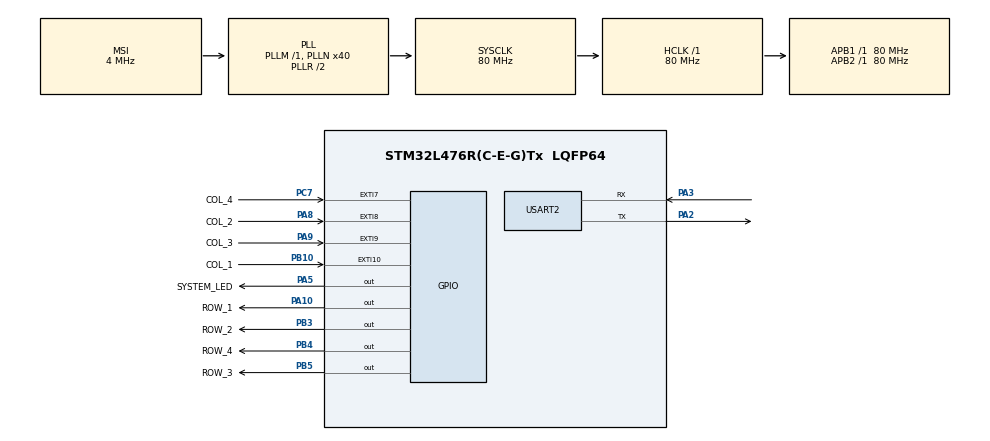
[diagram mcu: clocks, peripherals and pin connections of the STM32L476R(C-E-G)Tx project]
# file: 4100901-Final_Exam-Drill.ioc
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Mcu.Family=STM32L4
Mcu.Name=STM32L476R(C-E-G)Tx
Mcu.Package=LQFP64
NVIC.EXTI15_10_IRQn=true\:0\:0\:false\:false\:true\:true\:true\:true
NVIC.EXTI9_5_IRQn=true\:0\:0\:false\:false\:true\:true\:true\:true
NVIC.PriorityGroup=NVIC_PRIORITYGROUP_4
PA10.GPIO_Label=ROW_1
PA10.PinState=GPIO_PIN_SET
PA10.Signal=GPIO_Output
PA2.Mode=Asynchronous
PA2.Signal=USART2_TX
PA3.Mode=Asynchronous
PA3.Signal=USART2_RX
PA5.GPIO_Label=SYSTEM_LED
PA5.Signal=GPIO_Output
PA8.GPIO_Label=COL_2
PA8.GPIO_ModeDefaultEXTI=GPIO_MODE_IT_RISING
PA8.GPIO_PuPd=GPIO_PULLDOWN
PA8.Signal=GPXTI8
PA9.GPIO_Label=COL_3
PA9.GPIO_ModeDefaultEXTI=GPIO_MODE_IT_RISING
PA9.GPIO_PuPd=GPIO_PULLDOWN
PA9.Signal=GPXTI9
PB10.GPIO_Label=COL_1
PB10.GPIO_ModeDefaultEXTI=GPIO_MODE_IT_RISING
PB10.GPIO_PuPd=GPIO_PULLDOWN
PB10.Signal=GPXTI10
PB3\ (JTDO-TRACESWO).GPIO_Label=ROW_2
PB3\ (JTDO-TRACESWO).PinState=GPIO_PIN_SET
PB3\ (JTDO-TRACESWO).Signal=GPIO_Output
PB4\ (NJTRST).GPIO_Label=ROW_4
PB4\ (NJTRST).PinState=GPIO_PIN_SET
PB4\ (NJTRST).Signal=GPIO_Output
PB5.GPIO_Label=ROW_3
PB5.PinState=GPIO_PIN_SET
PB5.Signal=GPIO_Output
PC7.GPIO_Label=COL_4
PC7.GPIO_ModeDefaultEXTI=GPIO_MODE_IT_RISING
PC7.GPIO_PuPd=GPIO_PULLDOWN
PC7.Signal=GPXTI7
ProjectManager.HeapSize=0x200
ProjectManager.StackSize=0x400
ProjectManager.TargetToolchain=STM32CubeIDE
RCC.AHBFreq_Value=80000000
RCC.APB1Freq_Value=80000000
RCC.APB1TimFreq_Value=80000000
RCC.APB2Freq_Value=80000000
RCC.APB2TimFreq_Value=80000000
RCC.CortexFreq_Value=80000000
RCC.HCLKFreq_Value=80000000
RCC.HSE_VALUE=8000000
RCC.HSI_VALUE=16000000
RCC.LSE_VALUE=32768
RCC.MSI_VALUE=4000000
RCC.PLLN=40
RCC.SYSCLKFreq_VALUE=80000000
RCC.SYSCLKSource=RCC_SYSCLKSOURCE_PLLCLK
RCC.VCOOutputFreq_Value=160000000
USART2.VirtualMode-Asynchronous=VM_ASYNC
board=custom

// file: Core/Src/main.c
/* USER CODE BEGIN Header */
/**
  ******************************************************************************
  * @file           : main.c
  * @brief          : Main program body
  ******************************************************************************
  * @attention
  *
  * Copyright (c) 2024 STMicroelectronics.
  * All rights reserved.
  *
  * This software is licensed under terms that can be found in the LICENSE file
  * in the root directory of this software component.
  * If no LICENSE file comes with this software, it is provided AS-IS.
  *
  ******************************************************************************
  */
/* USER CODE END Header */
#include "main.h"

/* USER CODE BEGIN Includes */
#include <stdio.h>

#include <string.h>

#include "keypad.h"
#include "led_lib.h"
/* USER CODE END Includes */

/* USER CODE BEGIN PM */
// save letters pressed in char array

/*
 Macros for keypad funtions
*/

char password[] = "1004214804";
#define MAX_CHAR 10
char char_array[MAX_CHAR];
int char_index = 0;

// flags for interrupt

volatile int8_t compare_flag = 0;  // flag for comparing password
volatile int8_t clear_flag = 0;   // flag for clearing char array

/* USER CODE END PM */

UART_HandleTypeDef huart2;

void SystemClock_Config(void);
static void MX_GPIO_Init(void);
static void MX_USART2_UART_Init(void);

/* USER CODE BEGIN 0 */
int _write(int file, char *ptr, int len)
{
  // to using printf
  HAL_UART_Transmit(&huart2, (uint8_t *)ptr, len, 10);
  return len;
}

void HAL_GPIO_EXTI_Callback(uint16_t GPIO_Pin)
{
	uint8_t key_pressed = keypad_scan(GPIO_Pin);
	if (key_pressed != 0xFF) {
		printf("Pressed: %c\r\n", key_pressed);
    //save pressed key in char array
    char_array[char_index] = key_pressed;
    char_index++;
	}
  if (key_pressed == '*') // password verification
  {
    compare_flag = 1;
  }
  if (key_pressed == '#')// clear char array
  {
    clear_flag = 1;
  }

}
/* USER CODE END 0 */

int main(void)
{

  /* MCU Configuration--------------------------------------------------------*/

  /* Reset of all peripherals, Initializes the Flash interface and the Systick. */
  HAL_Init();

  /* USER CODE BEGIN Init */
  printf("Starting...\r\n");
  /* USER CODE END Init */

  /* Configure the system clock */
  SystemClock_Config();

  /* Initialize all configured peripherals */
  MX_GPIO_Init();
  MX_USART2_UART_Init();

  /* Infinite loop */
  /* USER CODE BEGIN WHILE */
  printf("Starting...\r\n");
  while (1)
  {
    /* USER CODE END WHILE */

    /* USER CODE BEGIN 3 */
    if (compare_flag == 1)
    {
      printf("Password: %s\r\n", password);
      printf("Entered: %s\r\n", char_array);
      //delete the last character
      char_array[char_index - 1] = '\0';
      printf("comparación: %s\r\n", char_array);
      if (strcmp(password, char_array) == 0)
      {
        printf("Correct Password\r\n");
        heartbeat(0, SYSTEM_LED_GPIO_Port, SYSTEM_LED_Pin);
      }
      else
      {
        printf("Incorrect Password\r\n");
        heartbeat(1, SYSTEM_LED_GPIO_Port, SYSTEM_LED_Pin);
      }
      compare_flag = 0;
    }
    if (clear_flag == 1)
    {
      memset(char_array, 0, sizeof(char_array));
      char_index = 0;
      clear_flag = 0;
    }
  }
  /* USER CODE END 3 */
}

void SystemClock_Config(void)
{
  RCC_OscInitTypeDef RCC_OscInitStruct = {0};
  RCC_ClkInitTypeDef RCC_ClkInitStruct = {0};

  /** Configure the main internal regulator output voltage
  */
  if (HAL_PWREx_ControlVoltageScaling(PWR_REGULATOR_VOLTAGE_SCALE1) != HAL_OK)
  {
    Error_Handler();
  }

  /** Initializes the RCC Oscillators according to the specified parameters
  * in the RCC_OscInitTypeDef structure.
  */
  RCC_OscInitStruct.OscillatorType = RCC_OSCILLATORTYPE_MSI;
  RCC_OscInitStruct.MSIState = RCC_MSI_ON;
  RCC_OscInitStruct.MSICalibrationValue = 0;
  RCC_OscInitStruct.MSIClockRange = RCC_MSIRANGE_6;
  RCC_OscInitStruct.PLL.PLLState = RCC_PLL_ON;
  RCC_OscInitStruct.PLL.PLLSource = RCC_PLLSOURCE_MSI;
  RCC_OscInitStruct.PLL.PLLM = 1;
  RCC_OscInitStruct.PLL.PLLN = 40;
  RCC_OscInitStruct.PLL.PLLP = RCC_PLLP_DIV7;
  RCC_OscInitStruct.PLL.PLLQ = RCC_PLLQ_DIV2;
  RCC_OscInitStruct.PLL.PLLR = RCC_PLLR_DIV2;
  if (HAL_RCC_OscConfig(&RCC_OscInitStruct) != HAL_OK)
  {
    Error_Handler();
  }

  /** Initializes the CPU, AHB and APB buses clocks
  */
  RCC_ClkInitStruct.ClockType = RCC_CLOCKTYPE_HCLK|RCC_CLOCKTYPE_SYSCLK
                              |RCC_CLOCKTYPE_PCLK1|RCC_CLOCKTYPE_PCLK2;
  RCC_ClkInitStruct.SYSCLKSource = RCC_SYSCLKSOURCE_PLLCLK;
  RCC_ClkInitStruct.AHBCLKDivider = RCC_SYSCLK_DIV1;
  RCC_ClkInitStruct.APB1CLKDivider = RCC_HCLK_DIV1;
  RCC_ClkInitStruct.APB2CLKDivider = RCC_HCLK_DIV1;

  if (HAL_RCC_ClockConfig(&RCC_ClkInitStruct, FLASH_LATENCY_4) != HAL_OK)
  {
    Error_Handler();
  }
}

static void MX_USART2_UART_Init(void)
{

  huart2.Instance = USART2;
  huart2.Init.BaudRate = 115200;
  huart2.Init.WordLength = UART_WORDLENGTH_8B;
  huart2.Init.StopBits = UART_STOPBITS_1;
  huart2.Init.Parity = UART_PARITY_NONE;
  huart2.Init.Mode = UART_MODE_TX_RX;
  huart2.Init.HwFlowCtl = UART_HWCONTROL_NONE;
  huart2.Init.OverSampling = UART_OVERSAMPLING_16;
  huart2.Init.OneBitSampling = UART_ONE_BIT_SAMPLE_DISABLE;
  huart2.AdvancedInit.AdvFeatureInit = UART_ADVFEATURE_NO_INIT;
  if (HAL_UART_Init(&huart2) != HAL_OK)
  {
    Error_Handler();
  }

}

static void MX_GPIO_Init(void)
{
  GPIO_InitTypeDef GPIO_InitStruct = {0};

  /* GPIO Ports Clock Enable */
  __HAL_RCC_GPIOA_CLK_ENABLE();
  __HAL_RCC_GPIOB_CLK_ENABLE();
  __HAL_RCC_GPIOC_CLK_ENABLE();

  /*Configure GPIO pin Output Level */
  HAL_GPIO_WritePin(SYSTEM_LED_GPIO_Port, SYSTEM_LED_Pin, GPIO_PIN_RESET);

  /*Configure GPIO pin Output Level */
  HAL_GPIO_WritePin(ROW_1_GPIO_Port, ROW_1_Pin, GPIO_PIN_SET);

  /*Configure GPIO pin Output Level */
  HAL_GPIO_WritePin(GPIOB, ROW_2_Pin|ROW_4_Pin|ROW_3_Pin, GPIO_PIN_SET);

  /*Configure GPIO pins : SYSTEM_LED_Pin ROW_1_Pin */
  GPIO_InitStruct.Pin = SYSTEM_LED_Pin|ROW_1_Pin;
  GPIO_InitStruct.Mode = GPIO_MODE_OUTPUT_PP;
  GPIO_InitStruct.Pull = GPIO_NOPULL;
  GPIO_InitStruct.Speed = GPIO_SPEED_FREQ_LOW;
  HAL_GPIO_Init(GPIOA, &GPIO_InitStruct);

  /*Configure GPIO pin : COL_1_Pin */
  GPIO_InitStruct.Pin = COL_1_Pin;
  GPIO_InitStruct.Mode = GPIO_MODE_IT_RISING;
  GPIO_InitStruct.Pull = GPIO_PULLDOWN;
  HAL_GPIO_Init(COL_1_GPIO_Port, &GPIO_InitStruct);

  /*Configure GPIO pin : COL_4_Pin */
  GPIO_InitStruct.Pin = COL_4_Pin;
  GPIO_InitStruct.Mode = GPIO_MODE_IT_RISING;
  GPIO_InitStruct.Pull = GPIO_PULLDOWN;
  HAL_GPIO_Init(COL_4_GPIO_Port, &GPIO_InitStruct);

  /*Configure GPIO pins : COL_2_Pin COL_3_Pin */
  GPIO_InitStruct.Pin = COL_2_Pin|COL_3_Pin;
  GPIO_InitStruct.Mode = GPIO_MODE_IT_RISING;
  GPIO_InitStruct.Pull = GPIO_PULLDOWN;
  HAL_GPIO_Init(GPIOA, &GPIO_InitStruct);

  /*Configure GPIO pins : ROW_2_Pin ROW_4_Pin ROW_3_Pin */
  GPIO_InitStruct.Pin = ROW_2_Pin|ROW_4_Pin|ROW_3_Pin;
  GPIO_InitStruct.Mode = GPIO_MODE_OUTPUT_PP;
  GPIO_InitStruct.Pull = GPIO_NOPULL;
  GPIO_InitStruct.Speed = GPIO_SPEED_FREQ_LOW;
  HAL_GPIO_Init(GPIOB, &GPIO_InitStruct);

  /* EXTI interrupt init*/
  HAL_NVIC_SetPriority(EXTI9_5_IRQn, 0, 0);
  HAL_NVIC_EnableIRQ(EXTI9_5_IRQn);

  HAL_NVIC_SetPriority(EXTI15_10_IRQn, 0, 0);
  HAL_NVIC_EnableIRQ(EXTI15_10_IRQn);

}

void Error_Handler(void)
{
  __disable_irq();
  while (1)
  {
  }
}
